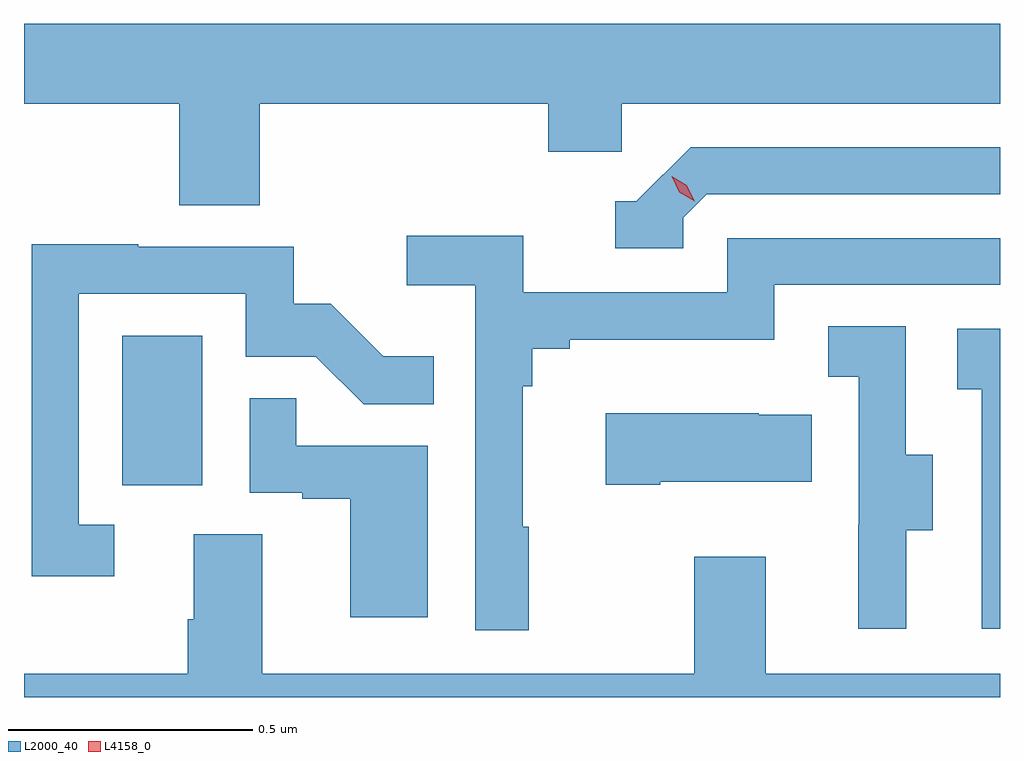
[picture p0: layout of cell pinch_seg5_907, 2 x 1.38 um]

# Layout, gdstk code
import gdstk
lib = gdstk.Library(unit=1e-6, precision=1e-09)
def R(c, l, rs):  # rectangles x0, y0, x1, y1
    for r in rs: c.add(gdstk.rectangle(r[:2], r[2:], *l))
def P(c, l, *ps):  # polygons
    for p in ps: c.add(gdstk.Polygon(p, *l))
L2000_40 = (2000, 40)
L4158_0 = (4158, 0)

pinch_seg5_907 = lib.new_cell('pinch_seg5_907')
R(pinch_seg5_907, L2000_40, [(862.4,878.622,862.564,878.929)])
P(pinch_seg5_907, L2000_40, [(862.682,879.404),(863.273,879.404),(863.273,879.306),(863.424,879.306),(863.424,879.404),(864.199,879.404),(864.199,879.568),(862.199,879.568),(862.199,879.404),(862.517,879.404),(862.517,879.196),(862.682,879.196)],
  [(863.55,879.171),(863.598,879.219),(864.199,879.219),(864.199,879.315),(863.565,879.315),(863.454,879.204),(863.411,879.204),(863.411,879.108),(863.55,879.108)],
  [(863.233,878.537),(863.221,878.537),(863.221,878.825),(863.24,878.825),(863.24,878.902),(863.317,878.902),(863.317,878.921),(863.736,878.921),(863.736,879.033),(864.199,879.033),(864.199,879.129),(863.64,879.129),(863.64,879.018),(863.222,879.018),(863.222,879.134),(862.983,879.134),(862.983,879.032),(863.124,879.032),(863.124,878.325),(863.233,878.325)],
  [(862.384,878.541),(862.311,878.541),(862.311,879.015),(862.653,879.015),(862.653,878.886),(862.797,878.886),(862.895,878.788),(863.039,878.788),(863.039,878.887),(862.935,878.887),(862.828,878.994),(862.752,878.994),(862.752,879.111),(862.433,879.111),(862.433,879.116),(862.215,879.116),(862.215,878.436),(862.384,878.436)],
  [(864.007,878.53),(864.061,878.53),(864.061,878.685),(864.006,878.685),(864.006,878.948),(863.847,878.948),(863.847,878.845),(863.91,878.845),(863.91,878.541),(863.909,878.541),(863.909,878.328),(864.007,878.328)],
  [(864.199,878.943),(864.111,878.943),(864.111,878.819),(864.162,878.819),(864.162,878.328),(864.199,878.328)],
  [(863.026,878.703),(862.757,878.703),(862.757,878.801),(862.662,878.801),(862.662,878.607),(862.769,878.607),(862.769,878.595),(862.868,878.595),(862.868,878.352),(863.026,878.352)],
  [(863.503,878.63),(863.813,878.63),(863.813,878.767),(863.705,878.767),(863.705,878.77),(863.391,878.77),(863.391,878.623),(863.503,878.623)],
  [(864.199,878.236),(863.719,878.236),(863.719,878.476),(863.572,878.476),(863.572,878.236),(862.687,878.236),(862.687,878.522),(862.547,878.522),(862.547,878.348),(862.535,878.348),(862.535,878.236),(862.199,878.236),(862.199,878.188),(864.199,878.188)])
P(pinch_seg5_907, L4158_0, [(863.573,879.204),(863.542,879.223),(863.526,879.256),(863.526,879.256),(863.526,879.256),(863.557,879.237),(863.573,879.204),(863.573,879.204)])

lib.write_gds('pinch_seg5_907.gds')
